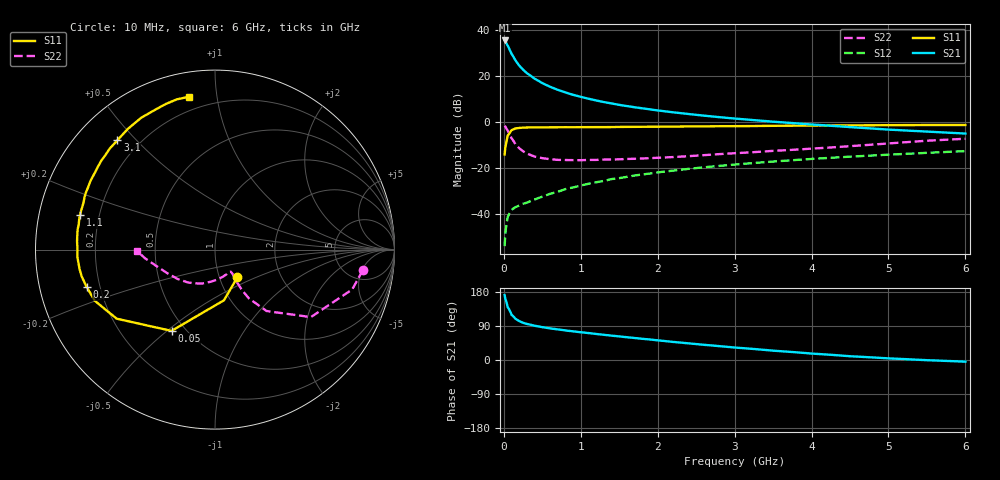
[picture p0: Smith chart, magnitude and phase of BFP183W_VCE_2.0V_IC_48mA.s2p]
! Infineon Technologies  Discrete & RF Semiconductors
! BFP183W
! VCE =  2.0 V,  IC =  48 mA
! Common Emitter S-Parameters:  Jan 2017
# GHz  S  MA  R  50
!  f  S11  S21  S12  S22
! GHz  MAG  ANG  MAG  ANG  MAG  ANG  MAG  ANG
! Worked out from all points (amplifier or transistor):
!   77 points, 10 MHz to 6 GHz, reference 50 ohm
!   highest |S21| = 35.5 dB at 10 MHz (marker M1)
!   |S21| within 3 dB of that: start of sweep to 61.25 MHz
!   unconditionally stable (mu >= 1): start of sweep to 12.32 MHz; 363.1 MHz to 5.411 GHz
!   at 130 MHz: K = 0.55, MSG = 32.8 dB, |S12| = -37.5 dB
!   at 2.2 GHz: K = 1.23, MAG = 9.8 dB, |S12| = -21.1 dB
!   at 6 GHz: K = 1.00, MSG = 3.8 dB, |S12| = -12.6 dB
!   S11 on the Smith chart (normalised r, x): 10 MHz: 1.22, -0.39; 50 MHz: 0.42, -0.52; 200 MHz: 0.15, -0.14; 1.1 GHz: 0.13, +0.13; 3.1 GHz: 0.12, +0.44; 6 GHz: 0.13, +0.84
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0.01  0.198 -50.8  59.59 171.1  0.002 87.2  0.8319 -7.9
0.02  0.2869 -80.0  57.19 161.5  0.0038 82.2  0.7959 -16.2
0.05  0.5134 -118.1  46.03 139.5  0.0086 55.3  0.6532 -35.2
0.1  0.6695 -144.9  30.6 119.1  0.0123 46.6  0.4464 -50.0
0.15  0.7278 -156.9  22.04 109.0  0.0141 44.3  0.3322 -55.2
0.2  0.7448 -163.8  16.97 102.6  0.0153 45.6  0.2703 -56.3
0.25  0.7576 -168.6  13.77 98.2  0.0167 46.0  0.2316 -56.2
0.3  0.7625 -171.9  11.57 95.1  0.0177 48.8  0.2061 -55.8
0.4  0.768 -177.0  8.77 90.3  0.0207 53.3  0.1777 -54.4
0.5  0.7662 179.4  7.029 86.6  0.0239 55.6  0.1643 -54.1
0.6  0.77 176.6  5.875 83.5  0.0275 59.1  0.1558 -54.4
0.7  0.7714 174.1  5.036 80.8  0.0304 62.7  0.1507 -54.7
0.9  0.7719 169.5  3.914 75.6  0.0379 64.7  0.1486 -57.8
1.1  0.7763 165.5  3.22 71.1  0.0455 66.3  0.1501 -61.4
1.3  0.777 161.5  2.725 66.5  0.0525 66.7  0.1527 -65.9
1.5  0.7836 158.1  2.369 62.3  0.0604 66.9  0.155 -71.1
2.1  0.7951 147.2  1.71 49.9  0.0841 65.3  0.1702 -89.0
2.6  0.8063 139.2  1.381 40.1  0.1039 62.8  0.1906 -104.6
3.1  0.8167 131.7  1.157 31.4  0.1229 59.6  0.2145 -118.8
4.1  0.8422 118.0  0.864 15.7  0.1616 52.6  0.2706 -144.6
5.1  0.8578 107.6  0.673 3.4  0.199 45.0  0.3526 -166.9
6  0.8633 99.6  0.562 -4.5  0.2336 37.8  0.4342 -178.9
